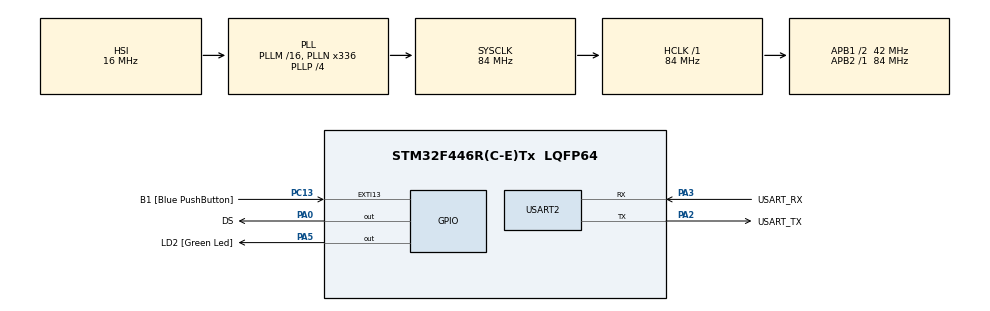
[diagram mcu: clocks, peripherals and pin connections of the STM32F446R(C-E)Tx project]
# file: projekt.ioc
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Mcu.Family=STM32F4
Mcu.Name=STM32F446R(C-E)Tx
Mcu.Package=LQFP64
NVIC.PriorityGroup=NVIC_PRIORITYGROUP_0
NVIC.USART2_IRQn=true\:0\:0\:false\:false\:true\:true\:true\:true
PA0-WKUP.GPIO_Label=DS
PA0-WKUP.GPIO_ModeDefaultOutputPP=GPIO_MODE_OUTPUT_OD
PA0-WKUP.GPIO_PuPd=GPIO_NOPULL
PA0-WKUP.PinState=GPIO_PIN_SET
PA0-WKUP.Signal=GPIO_Output
PA13.GPIO_Label=TMS
PA13.Mode=Serial_Wire
PA13.Signal=SYS_JTMS-SWDIO
PA14.GPIO_Label=TCK
PA14.Mode=Serial_Wire
PA14.Signal=SYS_JTCK-SWCLK
PA2.GPIO_Label=USART_TX
PA2.Mode=Asynchronous
PA2.Signal=USART2_TX
PA3.GPIO_Label=USART_RX
PA3.Mode=Asynchronous
PA3.Signal=USART2_RX
PA5.GPIO_Label=LD2 [Green Led]
PA5.Signal=GPIO_Output
PB3.GPIO_Label=SWO
PB3.Signal=SYS_JTDO-SWO
PC13.GPIO_Label=B1 [Blue PushButton]
PC13.GPIO_ModeDefaultEXTI=GPIO_MODE_IT_FALLING
PC13.Signal=GPXTI13
PC14-OSC32_IN.Mode=LSE-External-Oscillator
PC14-OSC32_IN.Signal=RCC_OSC32_IN
PC15-OSC32_OUT.Mode=LSE-External-Oscillator
PC15-OSC32_OUT.Signal=RCC_OSC32_OUT
PH0-OSC_IN.Mode=HSE-External-Oscillator
PH0-OSC_IN.Signal=RCC_OSC_IN
PH1-OSC_OUT.Mode=HSE-External-Oscillator
PH1-OSC_OUT.Signal=RCC_OSC_OUT
ProjectManager.HeapSize=0x200
ProjectManager.StackSize=0x400
ProjectManager.TargetToolchain=STM32CubeIDE
RCC.48MHZClocksFreq_Value=84000000
RCC.AHBFreq_Value=84000000
RCC.APB1CLKDivider=RCC_HCLK_DIV2
RCC.APB1Freq_Value=42000000
RCC.APB1TimFreq_Value=84000000
RCC.APB2Freq_Value=84000000
RCC.APB2TimFreq_Value=84000000
RCC.CortexFreq_Value=84000000
RCC.FLatency-AdvancedSettings=FLASH_LATENCY_2
RCC.HCLKFreq_Value=84000000
RCC.HSE_VALUE=8000000
RCC.HSI_VALUE=16000000
RCC.PLLN=336
RCC.PLLP=RCC_PLLP_DIV4
RCC.SYSCLKFreq_VALUE=84000000
RCC.SYSCLKSource=RCC_SYSCLKSOURCE_PLLCLK
RCC.USBFreq_Value=168000000
RCC.VCOOutputFreq_Value=336000000
TIM6.Period=65000
TIM6.Prescaler=44
USART2.VirtualMode=VM_ASYNC
VP_TIM6_VS_ClockSourceINT.Mode=Enable_Timer
board=NUCLEO-F446RE

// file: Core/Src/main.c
/* USER CODE BEGIN Header */
/**
  ******************************************************************************
  * @file           : main.c
  * @brief          : Main program body
  ******************************************************************************
  * @attention
  *
  * Copyright (c) 2023 STMicroelectronics.
  * All rights reserved.
  *
  * This software is licensed under terms that can be found in the LICENSE file
  * in the root directory of this software component.
  * If no LICENSE file comes with this software, it is provided AS-IS.
  *
  ******************************************************************************
  */
/* USER CODE END Header */
#include "main.h"

/* USER CODE BEGIN Includes */
#include <string.h>
#include <stdio.h>
#include <stdarg.h>
/* USER CODE END Includes */

TIM_HandleTypeDef htim6;

UART_HandleTypeDef huart2;

/* USER CODE BEGIN PV */
#define USART_TXBUF_LEN 400//długość bufora nadawczego
#define USART_RXBUF_LEN 400//długość bufora odbiorczego

#define MAX_DEVICES 10//maksymalna ilość urzązeń na oneWire

//Nadawanie
uint8_t USART_TxBuf[USART_TXBUF_LEN];
volatile int USART_TX_Empty=0;
volatile int USART_TX_Busy=0;

//Wysyłanie
uint8_t USART_RxBuf[USART_RXBUF_LEN];
volatile int USART_RX_Empty=0;
volatile int USART_RX_Busy=0;

char frameBuf[200];//tablica służaca do zapisywania ramki
int frameState = 0;//zmienna służąca do sprawdzania czy znaleziono początek ramki
int frameLength = 0;//zmienna przechowująca długość ramki
int minFrameLength = 11;//minimalna długość ramki
int maxFrameLength = 41;//maksymalna długość ramki
char receiverAddress[4];//tablica przechowująca adres odbiorcy
char senderAddress[4];//tablica przechowująca adres nadawcy
char command[4];//tablica przechowująca komendę
int commandDataLength = 0;//zmienna przechowująca długość danych
int checksumLength = 2;//długość sumy kontrolnej
int measurementInterval = 1000;//zmienna przechowująca interwał czasowy pomiaru (standardowo 1000ms)
char tempUnit = 'C';//zmienna przechowująca aktualną jednostkę temperatury (standardowo stopnie Celsjusza)
float lastTemp = 0;//zmienna przechowująca ostatnią zmierzoną temperaturę
uint8_t devicesFound = 0;//zmienna przechowująca ilość znalezionych urządzeń na oneWire
uint64_t devices[MAX_DEVICES];//tablica przechowująca adresu urzązeń na oneWire

/* USER CODE END PV */

void SystemClock_Config(void);
static void MX_GPIO_Init(void);
static void MX_USART2_UART_Init(void);
static void MX_TIM6_Init(void);
/* USER CODE BEGIN PFP */

//BUFOR KOLOWY
void USART_fsend(char* format,...){//funkcja wysyłająca tekst do terminala
	char tmp_rs[128];
	int i;
	__IO int idx;
	va_list arglist;
	va_start(arglist,format);
	vsprintf(tmp_rs,format,arglist);
	va_end(arglist);
	idx=USART_TX_Empty;
	for(i=0;i<strlen(tmp_rs);i++){
	  USART_TxBuf[idx]=tmp_rs[i];
	  idx++;
	  if(idx >= USART_TXBUF_LEN)idx=0;
	}
	__disable_irq();
	if((USART_TX_Empty==USART_TX_Busy)&&(__HAL_UART_GET_FLAG(&huart2,UART_FLAG_TXE)==SET)){
	  USART_TX_Empty=idx;
	  uint8_t tmp=USART_TxBuf[USART_TX_Busy];
	  USART_TX_Busy++;
	  if(USART_TX_Busy >= USART_TXBUF_LEN)USART_TX_Busy=0;
	  HAL_UART_Transmit_IT(&huart2, &tmp, 1);
	}else{
	  USART_TX_Empty=idx;
	}
	__enable_irq();
}

void HAL_UART_TxCpltCallback(UART_HandleTypeDef *huart){//USART Callback nadawanie
   if(huart==&huart2){
	   if(USART_TX_Empty!=USART_TX_Busy){
		   uint8_t tmp=USART_TxBuf[USART_TX_Busy];
		   USART_TX_Busy++;
		   if(USART_TX_Busy >= USART_TXBUF_LEN){
			   USART_TX_Busy=0;
		   }
		   HAL_UART_Transmit_IT(&huart2, &tmp, 1);
	   }
   }
}
void HAL_UART_RxCpltCallback(UART_HandleTypeDef *huart){//USART Callback odbiór
	 if(huart==&huart2){
		 USART_RX_Empty++;
		 if(USART_RX_Empty>=USART_RXBUF_LEN){
			 USART_RX_Empty=0;
		 }
		 HAL_UART_Receive_IT(&huart2,&USART_RxBuf[USART_RX_Empty],1);

	 }
}

//FUNCKJE SPRAWDZAJĄCE POPRAWNOŚĆ RAMKI
uint8_t genChecksum(char *data, size_t len)//funkcja do oblicznia sumy kontrolnej CRC-8
{
    uint8_t checksum = 0x00;
    size_t i, j;
    for (i = 0; i < len; i++) {
        checksum ^= data[i];
        for (j = 0; j < 8; j++) {
            if ((checksum & 0x80) != 0){
                checksum = (uint8_t)((checksum << 1) ^ 0x07);
            }else{
                checksum <<= 1;
            }
        }
    }
    return checksum;
}

int compareChecksums(char *frameChecksum, uint8_t generatedChecksum){//funkcja do sprawdzania poprawności sumy kontrolnej
	int frameChecksumInt = (int)strtol(frameChecksum, NULL, 16);
	if(frameChecksumInt == generatedChecksum){
		return 1;
	}else{
		return 0;
	}
}

int checkCharacters(char *txt, int isChecksum){//funkcja do sprawdzenia czy w pola Nadawca, Odbiorca, Komenda oraz Suma kontrolna wpisano dozwolone znaki
	size_t len = strlen(txt);
	if(isChecksum){//suma kontrolna ma inny zakres znaków
		for(size_t i = 0; i < len; i++){
			if((txt[i] < '0' || txt[i] > '9') && (txt[i] < 'A' || txt[i] > 'F')){
				return 0; //jeśli jakiś znak nie jest w zakresie, to zwracane jest 0
			}
		}
		return 1; //jeśli wszystkie znaki są w zakresie to zwracane jest 1
	}else{
		for(size_t i = 0; i < len; i++){
			if(txt[i] < 'A' || txt[i] > 'Z'){
				return 0;
			}
		}
		return 1;
	}
}

int checkSenderAndReceiver(char *sender, char *receiver){ //funkcja do sprawdzania czy adresy nadawcy i odbiorcy są prawidłowe
	if((!strcmp(sender, "HST")) && (!strcmp(receiver, "STM"))){
		return 1;
	}else{
		return 0;
	}
}

//ONE WIRE ORAZ OBSLUGA DS18B20
void usDelay(int us){//opóźnienie w mikrosekundach za pomocą TIM6
	__HAL_TIM_SET_COUNTER(&htim6, 0);//zerowanie licznika timera
	while(__HAL_TIM_GET_COUNTER(&htim6) < us){}//odczytywanie stanu licznika, który jest zwiększany co 1us
}

HAL_StatusTypeDef wireReset(){//generowanie sekwencji reset (rozpoczęcie komunikacji), opóźnienia zgodne ze specyfikacją
	int rc;
	HAL_GPIO_WritePin(DS_GPIO_Port, DS_Pin, GPIO_PIN_RESET);
	usDelay(480);
	HAL_GPIO_WritePin(DS_GPIO_Port, DS_Pin, GPIO_PIN_SET);
	usDelay(70);
	rc = HAL_GPIO_ReadPin(DS_GPIO_Port, DS_Pin);
	usDelay(410);
	if(rc == 0){
		return HAL_OK;
	}else{
		return HAL_ERROR;
	}
}

void writeBit(int value){//funkcja wysyłająca pojedyncze bity
	if(value){//wysyłanie 1
		HAL_GPIO_WritePin(DS_GPIO_Port, DS_Pin, GPIO_PIN_RESET);
		usDelay(6);
		HAL_GPIO_WritePin(DS_GPIO_Port, DS_Pin, GPIO_PIN_SET);
		usDelay(64);
	}else{//wysyłanie 0
		HAL_GPIO_WritePin(DS_GPIO_Port, DS_Pin, GPIO_PIN_RESET);
		usDelay(60);
		HAL_GPIO_WritePin(DS_GPIO_Port, DS_Pin, GPIO_PIN_SET);
		usDelay(10);
	}
}

int readBit(){//funkcja odczytująca pojedyncze bity
	int rc;
	HAL_GPIO_WritePin(DS_GPIO_Port, DS_Pin, GPIO_PIN_RESET);
	usDelay(6);
	HAL_GPIO_WritePin(DS_GPIO_Port, DS_Pin, GPIO_PIN_SET);
	usDelay(9);
	rc = HAL_GPIO_ReadPin(DS_GPIO_Port, DS_Pin);
	usDelay(55);
	return rc;
}

void wireWrite(uint8_t byte){//funkcja pisząca cały bajt
	int i;
	for(i = 0; i < 8; i++){
		writeBit(byte & 0x01);//wysyłanie najmniej znaczącego bitu
		byte >>=1;//przesunięcie w prawo
	}
}

uint8_t wireRead(){//zczytywanie całego bajtu
	uint8_t value = 0;
	int i;
	for(i = 0; i < 8; i++){
		value >>= 1;//przesunięcie w prawo
		if(readBit()){//jeśli bit wynosi 1
			value |= 0x80;//ustawienie MSB na 1
		}
	}
	return value;
}

void searchROM() {//funkcja wyszukująca adresy urządzeń na oneWire
	static uint8_t lastDiscrepancy = 0;
	    uint8_t discrepancyMarker = 0;
	    uint8_t bitPosition;
	    uint8_t bitA;
	    uint8_t bitB;
	    uint8_t bitCounter = 0;
	    uint8_t romByte = 0;
	    uint8_t searchResult;
	    uint64_t romCode = 0;
	    if (wireReset() == HAL_ERROR) {
	        return;
	    }
	    wireWrite(0xF0);
	    bitPosition = 0;
	    do {
	        bitA = readBit();
	        bitB = readBit();
	        if (bitA && bitB) {
	            break;
	        } else {
	            if (bitA ^ bitB) {
	                search_result = bitA;
	            } else {
	                if (bitPosition < lastDiscrepancy) {
	                    searchResult = ((romCode & ((uint64_t)1 << bitPosition)) > 0);
	                } else {
	                    searchResult = (bitPosition == lastDiscrepancy);
	                }
	                if (searchResult == 0) {
	                    discrepancyMarker = bitPosition;
	                }
	            }
	            romCode |= ((uint64_t)searchResult) << bitPosition;
	            writeBit(searchResult);
	            bitPosition++;
	            bitCounter++;
	            romByte >>= 1;
	            if (searchResult) {
	                romByte |= 0x80;
	            }
	            if (bitCounter == 8) {
	                bitCounter = 0;
	                romByte = 0;
	            }
	        }
	    } while (bitPosition < 64);
	    if (!(romCode == 0)) {
	        devices[devicesFound++] = romCode;
	    }
	    lastDiscrepancy = discrepancyMarker;
	    return;
}

void measureTemp(){
	static uint32_t lastMeasurementTime = 0;
	uint32_t currentTime = HAL_GetTick();//czas od uruchomienia programu (w ms)

	if((currentTime - lastMeasurementTime >= measurementInterval) || currentTime == 0){//sprawdzanie czy upłynęło wystarczająco dużo czasu
		wireReset();//wysyłanie sekwencji resetującej
		wireWrite(0xcc);//polecenie Skip ROM (pominięcie adresowania)
		wireWrite(0x44);//polecenie Convert T (rozpoczęcie pomiaru)

		while (wireRead() == 0); //oczekiwanie na zakończenie pomiaru

		wireReset();
		wireWrite(0xcc);//polecenie SkipRom
		wireWrite(0xbe);//polecenie Read Scratchpad (odczyt)

		int i;
		uint8_t scratchpad[9];//tablica przechowująca odczyt
		for(i = 0; i < 9; i++){
			scratchpad[i] = wireRead();//zapisywanie do tablicy
		}

		float result = (scratchpad[1] << 8) | scratchpad[0];//składanie 2 najbardziej znaczących bajtów w jedną liczbę
		lastTemp = result/16;//aby uzyskać temperaturę w stopniach Celsjusza należy podzielić wynik przez 16
		lastMeasurementTime = currentTime;//aktualizowanie ostatniego czasu pomiaru
	}
}

//KOMENDY I KOMUNIKATY ZWROTNE
void wrongCmd(){
	char frame[50];
	uint8_t checksum = genChecksum("STMHSTWCD", strlen("STMHSTWCD"));
	sprintf(frame, ":STMHSTWCD%X;", checksum);
	USART_fsend("STM->%s\r\n", frame);
}

void wrongDataFormat(){
	char frame[50];
	uint8_t checksum = genChecksum("STMHSTWDF", strlen("STMHSTWDF"));
	sprintf(frame, ":STMHSTWDF%02X;", checksum);
	USART_fsend("STM->%s\r\n", frame);
}

void wrongDataRange(){
	char frame[50];
	uint8_t checksum = genChecksum("STMHSTWDR", strlen("STMHSTWDR"));
	sprintf(frame, ":STMHSTWDR%02X;", checksum);
	USART_fsend("STM->%s\r\n", frame);
}

void changeMeasurementInterval(char *newInterval){ //zmiana interwału pomiarowego
	char *endptr;
	int intervalInt = (int)strtol(newInterval, &endptr, 10);
	if(*endptr != '\0'){
		wrongDataFormat();
	}else{
		if(intervalInt >= 500 && intervalInt <= 60000){
			measurementInterval = intervalInt;
		}else{
			wrongDataRange();
		}
	}
}

void getMeasurementInterval(){ //odczyt interwału pomiarowego
	char frame[50];
	char dataForChecksum[50];
	uint8_t checksum;
	sprintf(dataForChecksum, "STMHSTCMI=%d", measurementInterval);
	checksum = genChecksum(dataForChecksum, strlen(dataForChecksum));
	sprintf(frame, ":STMHSTCMI=%d%02X;", measurementInterval, checksum);
	USART_fsend("STM->%s\r\n", frame);
}

void changeTmpUnit(char newUnit){ //zmiana jednostki temperatury
	tempUnit = newUnit;
}

void getCurrentTmpUnit(){ //odczyt ustawionej jednostki temperatury
	char frame[50];
	char dataForChecksum[50];
	uint8_t checksum;
	sprintf(dataForChecksum, "STMHSTCTU%c", tempUnit);
	checksum = genChecksum(dataForChecksum, strlen(dataForChecksum));
	sprintf(frame, ":STMHSTCTU%c%02X;", tempUnit, checksum);
	USART_fsend("STM->%s\r\n", frame);
}

void getTemperature(){//odczyt temperatury
	char frame[50];
	char dataForChecksum[50];
	uint8_t checksum;
	float temperature;
	switch(tempUnit){
		case 'C':
			temperature = lastTemp;
			break;
		case 'F':
			temperature = (lastTemp * 9/5) + 32;
			break;
		case 'K':
			temperature = lastTemp + 273.15;
			break;
	}
	sprintf(dataForChecksum, "STMHSTTMP=%0.2f%c", temperature, tempUnit);
	checksum = genChecksum(dataForChecksum, strlen(dataForChecksum));
	sprintf(frame, ":STMHSTTMP=%0.2f%c%02X;", temperature, tempUnit, checksum);
	USART_fsend("STM->%s\r\n", frame);
}

void searchOneWire(){//wyszukiwanie urządzeń na oneWire
	searchROM();
	int i, j;
	for (i = 0; i < devicesFound; i++) {
		char frame[50];
		char dataForChecksum[50];
		uint8_t checksum;
		uint8_t rom[8];//tablica przechowująca adres jednego urządzenia
		for (j = 0; j < 8; j++) {
			rom[j] = (uint8_t)(devices[i] >> (j * 8));//przepisywanie adresu jednego urządzenia
		}
		sprintf(dataForChecksum, "STMHSTOWR%02X%02X%02X%02X%02X%02X%02X%02X", rom[0], rom[1], rom[2], rom[3], rom[4], rom[5], rom[6], rom[7]);
		checksum = genChecksum(dataForChecksum, strlen(dataForChecksum));
		sprintf(frame, ":STMHSTOWR%02X%02X%02X%02X%02X%02X%02X%02X%02X;", rom[0], rom[1], rom[2], rom[3], rom[4], rom[5], rom[6], rom[7], checksum);
		USART_fsend("STM->%s\r\n", frame);
	}
}

void analyzeCommand(char *cmd, char *data){//analiza komendy
	if(!strcmp(cmd, "SMI")){
		changeMeasurementInterval(data);
	}else if(!strcmp(cmd, "GMI")){
		getMeasurementInterval();
	}else if(!strcmp(cmd, "GTM")){
		getTemperature();
	}else if(!strcmp(cmd, "SOW")){
		searchOneWire();
	}else if(!strcmp(cmd, "STF")){
		changeTmpUnit('F');
	}else if(!strcmp(cmd, "STC")){
		changeTmpUnit('C');
	}else if(!strcmp(cmd, "STK")){
		changeTmpUnit('K');
	}else if(!strcmp(cmd, "GTU")){
		getCurrentTmpUnit();
	}else{
		wrongCmd();
	}
}

/* USER CODE END PFP */

int main(void)
{

  /* MCU Configuration--------------------------------------------------------*/

  /* Reset of all peripherals, Initializes the Flash interface and the Systick. */
  HAL_Init();

  /* Configure the system clock */
  SystemClock_Config();

  /* Initialize all configured peripherals */
  MX_GPIO_Init();
  MX_USART2_UART_Init();
  MX_TIM6_Init();
  /* USER CODE BEGIN 2 */
  HAL_TIM_Base_Start(&htim6);
  /* USER CODE END 2 */

  /* Infinite loop */
  /* USER CODE BEGIN WHILE */
  HAL_UART_Receive_IT(&huart2,&USART_RxBuf[0],1);//rozpoczęcie pobierania znaków
  USART_fsend("\r\nSZYMON POMIECINSKI\r\n");
  USART_fsend("MIKROPROCESORY (PROJEKT)\r\n");
  USART_fsend("OBSLUGA TERMOMETRU DS18B20\r\n");
  USART_fsend("HST->");

  while (1)
  {

	  uint8_t singleChar; //pojedynczy znak pobierany z bufora

	  if(USART_RX_Empty != USART_RX_Busy){//początek poszukiwania ramki
		if(frameState == 0){//szukanie ramki
		  singleChar = USART_RxBuf[USART_RX_Busy];//pobieranie pierwszego znaku

		  if(singleChar == 0x3A){//jeśli znaleziono : (początek ramki)
			  frameState = 1;
			  frameLength = 0;
		  }

		  USART_RX_Busy++;
		  if(USART_RX_Busy >= USART_RXBUF_LEN){
			  USART_RX_Busy = 0;
		  }

		}else if(frameState == 1){//jeśli początek ramki jest znaleziony
		  singleChar = USART_RxBuf[USART_RX_Busy];//pobieranie kolejnego znaku

		  if(singleChar == 0x3A){//sprawdzenie czy znak początku się powtarza
			  if(frameLength > 1){
				  frameLength = 0;
			  }
		  }else{
			  frameBuf[frameLength] = singleChar;//zapisywanie ramki
			  frameLength++;
		  }

		  USART_RX_Busy++;
		  if(USART_RX_Busy >= USART_RXBUF_LEN){
			  USART_RX_Busy = 0;
		  }

		  if(singleChar == 0x3B){//zapisywanie do ramki do napotkania znaku końca ramki (;)
			  if(frameLength - 1 > maxFrameLength){//sprawdzenie czy ramka nie jest zbyt długa
				  USART_fsend("HST->");
				  frameLength = 0;
				  frameState = 0;
				  memset(frameBuf, 0, sizeof(frameBuf));//czyszczenie bufora ramki
				  continue;//i przechodzenie do następnej iteracji pętli
			  }
			  if(frameLength > minFrameLength){//sprawdzanie czy ramka ma minimalną długość
				  //zapisywanie poszczególnych pól ramki
				  frameBuf[frameLength - 1] = '\0';

				  memcpy(senderAddress, &frameBuf[0], 3);
				  senderAddress[3] = '\0';

				  memcpy(receiverAddress, &frameBuf[3], 3);
				  receiverAddress[3] = '\0';

				  memcpy(command, &frameBuf[6], 3);
				  command[3] = '\0';

				  commandDataLength = frameLength - 9 - checksumLength - 1; //9, ponieważ taki rozmiar mają pola przed polem danych
				  char commandData[commandDataLength + 1];
				  memcpy(commandData, &frameBuf[9], commandDataLength);
				  commandData[commandDataLength] = '\0';

				  char checksum[checksumLength + 1];
				  memcpy(checksum, &frameBuf[9 + commandDataLength], checksumLength);
				  checksum[checksumLength] = '\0';

				  if(checkCharacters(senderAddress, 0) && checkCharacters(receiverAddress, 0) &&
					 checkCharacters(command, 0) && checkCharacters(checksum, 1)){//sprawdzanie czy w pola wpisano dozwolone znaki
					  if(checkSenderAndReceiver(senderAddress, receiverAddress)){//sprawdzanie poprawności adresów
						  //oddzielanie danych z ramki do obliczeń sumy kontrolnej
						  int frameWithoutChsumLen = frameLength - checksumLength;
						  char frameWithoutChsum[frameWithoutChsumLen];
						  strncpy(frameWithoutChsum, frameBuf, frameWithoutChsumLen);
						  frameWithoutChsum[frameWithoutChsumLen - 1] = '\0';

						  //obliczanie sumy kontrolnej
						  uint8_t calculatedChecksum = genChecksum(frameWithoutChsum, strlen(frameWithoutChsum));

						  if(compareChecksums(checksum, calculatedChecksum)){ //sprawdzanie poprawności sumy kontrolnej
							  //analizowanie komendy
							  analyzeCommand(command, commandData);
						  }
					  }
				  }
			  }

			  USART_fsend("HST->");
			  frameState = 0;
			  frameLength = 0;
			  memset(frameBuf, 0, sizeof(frameBuf));//czyszczenie bufora ramki
		  }
		}
	  }
    /* USER CODE END WHILE */

  }
}

void SystemClock_Config(void)
{
  RCC_OscInitTypeDef RCC_OscInitStruct = {0};
  RCC_ClkInitTypeDef RCC_ClkInitStruct = {0};

  /** Configure the main internal regulator output voltage
  */
  __HAL_RCC_PWR_CLK_ENABLE();
  __HAL_PWR_VOLTAGESCALING_CONFIG(PWR_REGULATOR_VOLTAGE_SCALE3);

  /** Initializes the RCC Oscillators according to the specified parameters
  * in the RCC_OscInitTypeDef structure.
  */
  RCC_OscInitStruct.OscillatorType = RCC_OSCILLATORTYPE_HSI;
  RCC_OscInitStruct.HSIState = RCC_HSI_ON;
  RCC_OscInitStruct.HSICalibrationValue = RCC_HSICALIBRATION_DEFAULT;
  RCC_OscInitStruct.PLL.PLLState = RCC_PLL_ON;
  RCC_OscInitStruct.PLL.PLLSource = RCC_PLLSOURCE_HSI;
  RCC_OscInitStruct.PLL.PLLM = 16;
  RCC_OscInitStruct.PLL.PLLN = 336;
  RCC_OscInitStruct.PLL.PLLP = RCC_PLLP_DIV4;
  RCC_OscInitStruct.PLL.PLLQ = 2;
  RCC_OscInitStruct.PLL.PLLR = 2;
  if (HAL_RCC_OscConfig(&RCC_OscInitStruct) != HAL_OK)
  {
    Error_Handler();
  }

  /** Initializes the CPU, AHB and APB buses clocks
  */
  RCC_ClkInitStruct.ClockType = RCC_CLOCKTYPE_HCLK|RCC_CLOCKTYPE_SYSCLK
                              |RCC_CLOCKTYPE_PCLK1|RCC_CLOCKTYPE_PCLK2;
  RCC_ClkInitStruct.SYSCLKSource = RCC_SYSCLKSOURCE_PLLCLK;
  RCC_ClkInitStruct.AHBCLKDivider = RCC_SYSCLK_DIV1;
  RCC_ClkInitStruct.APB1CLKDivider = RCC_HCLK_DIV2;
  RCC_ClkInitStruct.APB2CLKDivider = RCC_HCLK_DIV1;

  if (HAL_RCC_ClockConfig(&RCC_ClkInitStruct, FLASH_LATENCY_2) != HAL_OK)
  {
    Error_Handler();
  }
}

static void MX_TIM6_Init(void)
{

  TIM_MasterConfigTypeDef sMasterConfig = {0};

  htim6.Instance = TIM6;
  htim6.Init.Prescaler = 44;
  htim6.Init.CounterMode = TIM_COUNTERMODE_UP;
  htim6.Init.Period = 65000;
  htim6.Init.AutoReloadPreload = TIM_AUTORELOAD_PRELOAD_DISABLE;
  if (HAL_TIM_Base_Init(&htim6) != HAL_OK)
  {
    Error_Handler();
  }
  sMasterConfig.MasterOutputTrigger = TIM_TRGO_RESET;
  sMasterConfig.MasterSlaveMode = TIM_MASTERSLAVEMODE_DISABLE;
  if (HAL_TIMEx_MasterConfigSynchronization(&htim6, &sMasterConfig) != HAL_OK)
  {
    Error_Handler();
  }

}

static void MX_USART2_UART_Init(void)
{

  huart2.Instance = USART2;
  huart2.Init.BaudRate = 115200;
  huart2.Init.WordLength = UART_WORDLENGTH_8B;
  huart2.Init.StopBits = UART_STOPBITS_1;
  huart2.Init.Parity = UART_PARITY_NONE;
  huart2.Init.Mode = UART_MODE_TX_RX;
  huart2.Init.HwFlowCtl = UART_HWCONTROL_NONE;
  huart2.Init.OverSampling = UART_OVERSAMPLING_16;
  if (HAL_UART_Init(&huart2) != HAL_OK)
  {
    Error_Handler();
  }

}

static void MX_GPIO_Init(void)
{
  GPIO_InitTypeDef GPIO_InitStruct = {0};

  /* GPIO Ports Clock Enable */
  __HAL_RCC_GPIOC_CLK_ENABLE();
  __HAL_RCC_GPIOH_CLK_ENABLE();
  __HAL_RCC_GPIOA_CLK_ENABLE();
  __HAL_RCC_GPIOB_CLK_ENABLE();

  /*Configure GPIO pin Output Level */
  HAL_GPIO_WritePin(DS_GPIO_Port, DS_Pin, GPIO_PIN_SET);

  /*Configure GPIO pin Output Level */
  HAL_GPIO_WritePin(LD2_GPIO_Port, LD2_Pin, GPIO_PIN_RESET);

  /*Configure GPIO pin : B1_Pin */
  GPIO_InitStruct.Pin = B1_Pin;
  GPIO_InitStruct.Mode = GPIO_MODE_IT_FALLING;
  GPIO_InitStruct.Pull = GPIO_NOPULL;
  HAL_GPIO_Init(B1_GPIO_Port, &GPIO_InitStruct);

  /*Configure GPIO pin : DS_Pin */
  GPIO_InitStruct.Pin = DS_Pin;
  GPIO_InitStruct.Mode = GPIO_MODE_OUTPUT_OD;
  GPIO_InitStruct.Pull = GPIO_NOPULL;
  GPIO_InitStruct.Speed = GPIO_SPEED_FREQ_LOW;
  HAL_GPIO_Init(DS_GPIO_Port, &GPIO_InitStruct);

  /*Configure GPIO pin : LD2_Pin */
  GPIO_InitStruct.Pin = LD2_Pin;
  GPIO_InitStruct.Mode = GPIO_MODE_OUTPUT_PP;
  GPIO_InitStruct.Pull = GPIO_NOPULL;
  GPIO_InitStruct.Speed = GPIO_SPEED_FREQ_LOW;
  HAL_GPIO_Init(LD2_GPIO_Port, &GPIO_InitStruct);

}

void Error_Handler(void)
{
  __disable_irq();
  while (1)
  {
  }
}
